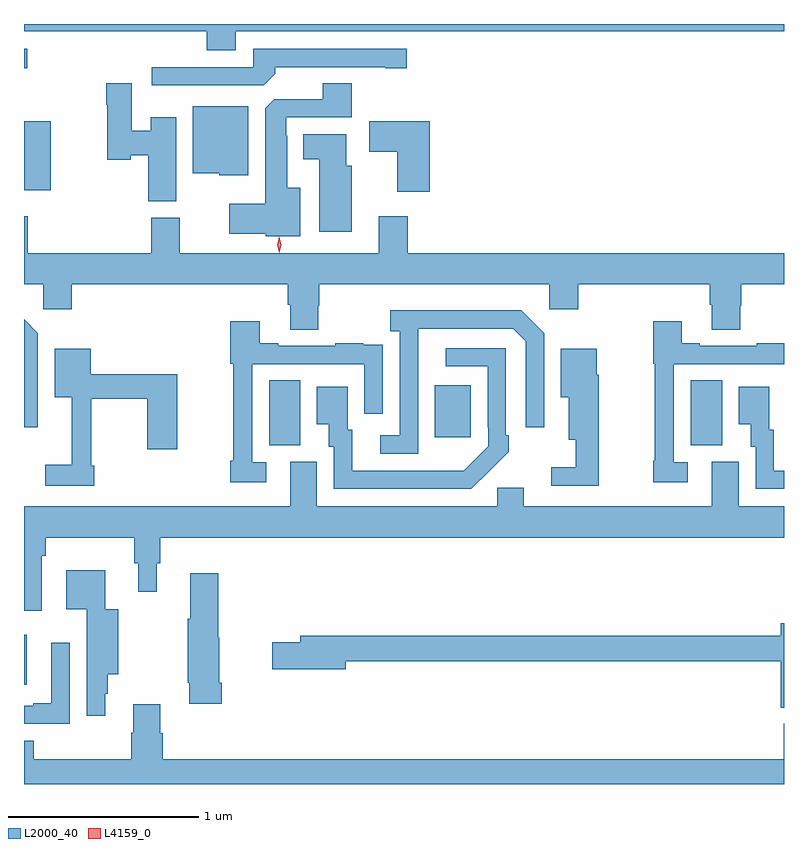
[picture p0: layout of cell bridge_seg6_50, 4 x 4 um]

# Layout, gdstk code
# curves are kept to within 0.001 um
import gdstk
lib = gdstk.Library(unit=1e-6, precision=1e-09)
def R(c, l, rs):  # rectangles x0, y0, x1, y1
    for r in rs: c.add(gdstk.rectangle(r[:2], r[2:], *l))
def P(c, l, *ps):  # polygons
    for p in ps: c.add(gdstk.Polygon(p, *l))
L2000_40 = (2000, 40)
L4159_0 = (4159, 0)

bridge_seg6_50 = lib.new_cell('bridge_seg6_50')
R(bridge_seg6_50, L2000_40, [(1081.778,975.866,1081.792,976.129), (1083.068,977.125,1083.232,977.468), (1085.288,977.125,1085.452,977.468), (1083.941,977.169,1084.129,977.443), (1081.778,978.467,1081.918,978.832), (1081.778,979.111,1081.795,979.212)])
P(bridge_seg6_50, L2000_40, [(1082.893,979.304),(1085.778,979.304),(1085.778,979.343),(1081.778,979.343),(1081.778,979.304),(1082.741,979.304),(1082.741,979.205),(1082.893,979.205)],
  [(1083.101,979.082),(1083.101,979.116),(1083.68,979.116),(1083.68,979.111),(1083.793,979.111),(1083.793,979.212),(1082.985,979.212),(1082.985,979.116),(1082.451,979.116),(1082.451,979.02),(1083.039,979.02)],
  [(1083.232,978.481),(1083.163,978.481),(1083.163,978.755),(1083.159,978.755),(1083.159,978.852),(1083.503,978.852),(1083.503,979.031),(1083.35,979.031),(1083.35,978.948),(1083.096,978.948),(1083.047,978.899),(1083.047,978.397),(1082.859,978.397),(1082.859,978.239),(1083.051,978.239),(1083.051,978.227),(1083.232,978.227)],
  [(1082.578,978.853),(1082.444,978.853),(1082.444,978.781),(1082.344,978.781),(1082.344,979.03),(1082.21,979.03),(1082.21,978.917),(1082.215,978.917),(1082.215,978.629),(1082.34,978.629),(1082.34,978.652),(1082.432,978.652),(1082.432,978.409),(1082.578,978.409)],
  [(1082.959,978.91),(1082.666,978.91),(1082.666,978.557),(1082.805,978.557),(1082.805,978.548),(1082.959,978.548)],
  [(1083.914,978.832),(1083.594,978.832),(1083.594,978.67),(1083.743,978.67),(1083.743,978.459),(1083.914,978.459)],
  [(1083.502,978.597),(1083.475,978.597),(1083.475,978.763),(1083.248,978.763),(1083.248,978.632),(1083.332,978.632),(1083.332,978.249),(1083.502,978.249)],
  [(1083.797,978.331),(1083.644,978.331),(1083.644,978.136),(1082.599,978.136),(1082.599,978.324),(1082.447,978.324),(1082.447,978.136),(1081.799,978.136),(1081.799,978.331),(1081.778,978.331),(1081.778,977.972),(1081.878,977.972),(1081.878,977.841),(1082.03,977.841),(1082.03,977.972),(1083.167,977.972),(1083.167,977.866),(1083.179,977.866),(1083.179,977.734),(1083.327,977.734),(1083.327,977.859),(1083.332,977.859),(1083.332,977.972),(1084.542,977.972),(1084.542,977.841),(1084.694,977.841),(1084.694,977.972),(1085.387,977.972),(1085.387,977.866),(1085.399,977.866),(1085.399,977.734),(1085.547,977.734),(1085.547,977.859),(1085.552,977.859),(1085.552,977.972),(1085.778,977.972),(1085.778,978.136),(1083.797,978.136)],
  [(1083.852,977.539),(1083.853,977.739),(1084.353,977.739),(1084.419,977.673),(1084.419,977.22),(1084.515,977.22),(1084.515,977.715),(1084.394,977.836),(1083.705,977.836),(1083.705,977.726),(1083.756,977.726),(1083.756,977.178),(1083.654,977.178),(1083.654,977.082),(1083.852,977.082)],
  [(1081.851,977.715),(1081.778,977.788),(1081.778,977.22),(1081.851,977.22)],
  [(1083.052,977.037),(1082.979,977.037),(1082.979,977.553),(1083.57,977.553),(1083.57,977.292),(1083.666,977.292),(1083.666,977.546),(1083.665,977.546),(1083.665,977.655),(1083.563,977.655),(1083.563,977.662),(1083.415,977.662),(1083.415,977.649),(1083.115,977.649),(1083.115,977.662),(1083.019,977.662),(1083.019,977.779),(1082.863,977.779),(1082.863,977.556),(1082.878,977.556),(1082.878,977.044),(1082.863,977.044),(1082.863,976.932),(1083.052,976.932)],
  [(1085.272,977.037),(1085.199,977.037),(1085.199,977.553),(1085.778,977.553),(1085.778,977.662),(1085.635,977.662),(1085.635,977.649),(1085.335,977.649),(1085.335,977.662),(1085.239,977.662),(1085.239,977.779),(1085.09,977.779),(1085.09,977.556),(1085.098,977.556),(1085.098,977.044),(1085.091,977.044),(1085.091,976.932),(1085.272,976.932)],
  [(1084.223,976.987),(1084.224,976.986),(1084.329,977.091),(1084.329,977.179),(1084.314,977.179),(1084.314,977.637),(1083.999,977.637),(1083.999,977.541),(1084.218,977.541),(1084.218,977.221),(1084.221,977.221),(1084.221,977.121),(1084.093,976.993),(1083.505,976.992),(1083.505,977.208),(1083.481,977.208),(1083.481,977.434),(1083.32,977.434),(1083.32,977.237),(1083.383,977.237),(1083.383,977.118),(1083.408,977.118),(1083.408,976.896),(1084.132,976.896)],
  [(1082.147,977.017),(1082.132,977.017),(1082.132,977.371),(1082.426,977.371),(1082.426,977.106),(1082.584,977.106),(1082.584,977.5),(1082.128,977.5),(1082.128,977.635),(1081.94,977.635),(1081.94,977.378),(1082.03,977.378),(1082.03,977.023),(1081.89,977.023),(1081.89,976.914),(1082.147,976.914)],
  [(1084.804,977.496),(1084.792,977.496),(1084.792,977.635),(1084.604,977.635),(1084.604,977.378),(1084.646,977.378),(1084.646,977.156),(1084.683,977.156),(1084.683,977.011),(1084.554,977.011),(1084.554,976.914),(1084.804,976.914)],
  [(1085.778,976.992),(1085.725,976.992),(1085.725,977.208),(1085.701,977.208),(1085.701,977.434),(1085.54,977.434),(1085.54,977.237),(1085.603,977.237),(1085.603,977.118),(1085.628,977.118),(1085.628,976.896),(1085.778,976.896)],
  [(1081.872,976.544),(1081.892,976.544),(1081.892,976.64),(1082.359,976.64),(1082.359,976.506),(1082.378,976.506),(1082.378,976.356),(1082.476,976.356),(1082.476,976.506),(1082.495,976.506),(1082.495,976.64),(1085.778,976.64),(1085.778,976.804),(1085.539,976.804),(1085.539,977.04),(1085.399,977.04),(1085.399,976.804),(1084.408,976.804),(1084.408,976.902),(1084.269,976.902),(1084.269,976.804),(1083.319,976.804),(1083.319,977.04),(1083.179,977.04),(1083.179,976.804),(1081.778,976.804),(1081.778,976.254),(1081.872,976.254)],
  [(1082.206,975.819),(1082.218,975.819),(1082.218,975.92),(1082.274,975.92),(1082.274,976.264),(1082.206,976.264),(1082.206,976.468),(1082,976.468),(1082,976.262),(1082.108,976.262),(1082.108,976.024),(1082.109,976.024),(1082.109,975.702),(1082.206,975.702)],
  [(1082.819,975.877),(1082.806,975.877),(1082.806,976.113),(1082.801,976.113),(1082.801,976.453),(1082.654,976.453),(1082.654,976.213),(1082.641,976.213),(1082.641,975.877),(1082.648,975.877),(1082.648,975.765),(1082.819,975.765)],
  [(1085.778,976.189),(1085.762,976.189),(1085.762,976.124),(1083.233,976.124),(1083.233,976.088),(1083.084,976.088),(1083.084,975.946),(1083.472,975.946),(1083.472,975.988),(1085.762,975.988),(1085.762,975.745),(1085.778,975.745)],
  [(1082.019,976.087),(1081.922,976.087),(1081.922,975.769),(1081.826,975.769),(1081.826,975.756),(1081.778,975.756),(1081.778,975.66),(1082.019,975.66)],
  [(1085.778,975.66),(1085.777,975.66),(1085.777,975.472),(1082.507,975.472),(1082.507,975.609),(1082.494,975.609),(1082.494,975.763),(1082.354,975.763),(1082.354,975.614),(1082.342,975.614),(1082.342,975.472),(1081.829,975.472),(1081.829,975.57),(1081.778,975.57),(1081.778,975.343),(1085.778,975.343)])
P(bridge_seg6_50, L4159_0, [(1083.121,978.14),(1083.121,978.141),(1083.111,978.182),(1083.121,978.223),(1083.121,978.223),(1083.121,978.223),(1083.131,978.182),(1083.121,978.141)])

lib.write_gds('bridge_seg6_50.gds')
